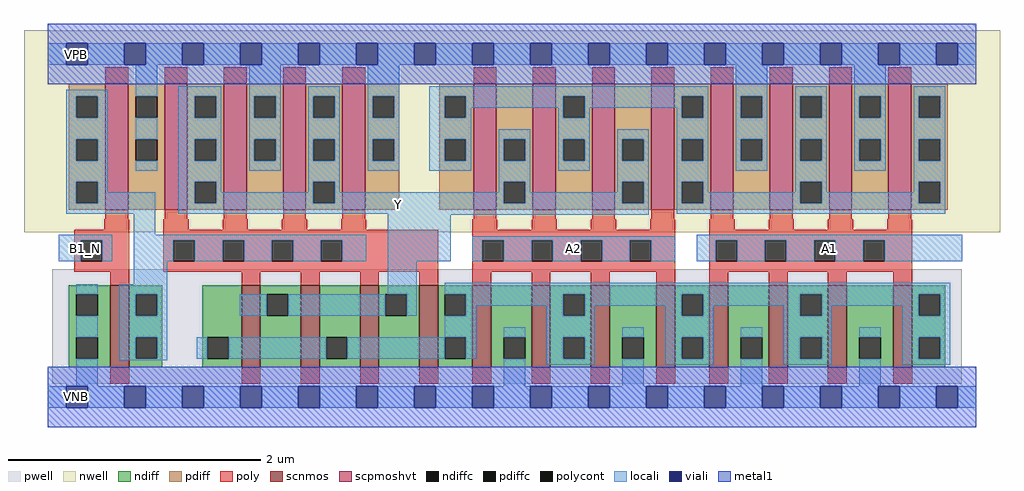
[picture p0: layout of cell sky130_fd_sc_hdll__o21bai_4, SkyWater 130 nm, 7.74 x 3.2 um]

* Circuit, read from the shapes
.subckt sky130_fd_sc_hdll__o21bai_4 A1 A2 B1_N VGND VNB VPB VPWR Y
XM1 n1 B1_N VGND VNB sky130_fd_pr__nfet_01v8 w=0.65 l=0.15
XM2 Y n1 n2 VNB sky130_fd_pr__nfet_01v8 w=0.65 l=0.15 m=4
XM3 VGND A2 n2 VNB sky130_fd_pr__nfet_01v8 w=0.65 l=0.15 m=4
XM4 VGND A1 n2 VNB sky130_fd_pr__nfet_01v8 w=0.65 l=0.15 m=4
XM5 VPWR B1_N n1 VPB sky130_fd_pr__pfet_01v8_hvt w=1 l=0.18
XM6 Y n1 VPWR VPB sky130_fd_pr__pfet_01v8_hvt w=1 l=0.18 m=4
XM7 Y A2 n3 VPB sky130_fd_pr__pfet_01v8_hvt w=1 l=0.18 m=4
XM8 VPWR A1 n3 VPB sky130_fd_pr__pfet_01v8_hvt w=1 l=0.18 m=4
.ends

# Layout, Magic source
magic
tech sky130A
magscale 1 2
<< nwell >>
rect -38 261 1510 582
<< pwell >>
rect 7 21 1449 203
rect 29 -17 63 21
<< scnmos >>
rect 99 47 129 177
rect 307 47 337 177
rect 401 47 431 177
rect 495 47 525 177
rect 589 47 619 177
rect 673 47 703 177
rect 767 47 797 177
rect 861 47 891 177
rect 965 47 995 177
rect 1049 47 1079 177
rect 1143 47 1173 177
rect 1237 47 1267 177
rect 1341 47 1371 177
<< scpmoshvt >>
rect 91 297 127 497
rect 185 297 221 497
rect 279 297 315 497
rect 373 297 409 497
rect 467 297 503 497
rect 675 297 711 497
rect 769 297 805 497
rect 863 297 899 497
rect 957 297 993 497
rect 1051 297 1087 497
rect 1145 297 1181 497
rect 1239 297 1275 497
rect 1333 297 1369 497
<< ndiff >>
rect 33 163 99 177
rect 33 129 45 163
rect 79 129 99 163
rect 33 95 99 129
rect 33 61 45 95
rect 79 61 99 95
rect 33 47 99 61
rect 129 163 181 177
rect 129 129 139 163
rect 173 129 181 163
rect 129 95 181 129
rect 129 61 139 95
rect 173 61 181 95
rect 129 47 181 61
rect 245 95 307 177
rect 245 61 253 95
rect 287 61 307 95
rect 245 47 307 61
rect 337 163 401 177
rect 337 129 347 163
rect 381 129 401 163
rect 337 47 401 129
rect 431 95 495 177
rect 431 61 441 95
rect 475 61 495 95
rect 431 47 495 61
rect 525 163 589 177
rect 525 129 535 163
rect 569 129 589 163
rect 525 47 589 129
rect 619 163 673 177
rect 619 129 629 163
rect 663 129 673 163
rect 619 95 673 129
rect 619 61 629 95
rect 663 61 673 95
rect 619 47 673 61
rect 703 95 767 177
rect 703 61 723 95
rect 757 61 767 95
rect 703 47 767 61
rect 797 163 861 177
rect 797 129 817 163
rect 851 129 861 163
rect 797 95 861 129
rect 797 61 817 95
rect 851 61 861 95
rect 797 47 861 61
rect 891 95 965 177
rect 891 61 911 95
rect 945 61 965 95
rect 891 47 965 61
rect 995 163 1049 177
rect 995 129 1005 163
rect 1039 129 1049 163
rect 995 95 1049 129
rect 995 61 1005 95
rect 1039 61 1049 95
rect 995 47 1049 61
rect 1079 95 1143 177
rect 1079 61 1099 95
rect 1133 61 1143 95
rect 1079 47 1143 61
rect 1173 163 1237 177
rect 1173 129 1193 163
rect 1227 129 1237 163
rect 1173 95 1237 129
rect 1173 61 1193 95
rect 1227 61 1237 95
rect 1173 47 1237 61
rect 1267 95 1341 177
rect 1267 61 1287 95
rect 1321 61 1341 95
rect 1267 47 1341 61
rect 1371 163 1423 177
rect 1371 129 1381 163
rect 1415 129 1423 163
rect 1371 95 1423 129
rect 1371 61 1381 95
rect 1415 61 1423 95
rect 1371 47 1423 61
<< pdiff >>
rect 33 477 91 497
rect 33 443 45 477
rect 79 443 91 477
rect 33 409 91 443
rect 33 375 45 409
rect 79 375 91 409
rect 33 341 91 375
rect 33 307 45 341
rect 79 307 91 341
rect 33 297 91 307
rect 127 477 185 497
rect 127 443 139 477
rect 173 443 185 477
rect 127 409 185 443
rect 127 375 139 409
rect 173 375 185 409
rect 127 297 185 375
rect 221 477 279 497
rect 221 443 233 477
rect 267 443 279 477
rect 221 409 279 443
rect 221 375 233 409
rect 267 375 279 409
rect 221 341 279 375
rect 221 307 233 341
rect 267 307 279 341
rect 221 297 279 307
rect 315 477 373 497
rect 315 443 327 477
rect 361 443 373 477
rect 315 409 373 443
rect 315 375 327 409
rect 361 375 373 409
rect 315 297 373 375
rect 409 477 467 497
rect 409 443 421 477
rect 455 443 467 477
rect 409 409 467 443
rect 409 375 421 409
rect 455 375 467 409
rect 409 341 467 375
rect 409 307 421 341
rect 455 307 467 341
rect 409 297 467 307
rect 503 477 557 497
rect 503 443 515 477
rect 549 443 557 477
rect 503 409 557 443
rect 503 375 515 409
rect 549 375 557 409
rect 503 297 557 375
rect 621 477 675 497
rect 621 443 629 477
rect 663 443 675 477
rect 621 409 675 443
rect 621 375 629 409
rect 663 375 675 409
rect 621 297 675 375
rect 711 409 769 497
rect 711 375 723 409
rect 757 375 769 409
rect 711 341 769 375
rect 711 307 723 341
rect 757 307 769 341
rect 711 297 769 307
rect 805 477 863 497
rect 805 443 817 477
rect 851 443 863 477
rect 805 409 863 443
rect 805 375 817 409
rect 851 375 863 409
rect 805 297 863 375
rect 899 409 957 497
rect 899 375 911 409
rect 945 375 957 409
rect 899 341 957 375
rect 899 307 911 341
rect 945 307 957 341
rect 899 297 957 307
rect 993 477 1051 497
rect 993 443 1005 477
rect 1039 443 1051 477
rect 993 409 1051 443
rect 993 375 1005 409
rect 1039 375 1051 409
rect 993 341 1051 375
rect 993 307 1005 341
rect 1039 307 1051 341
rect 993 297 1051 307
rect 1087 477 1145 497
rect 1087 443 1099 477
rect 1133 443 1145 477
rect 1087 409 1145 443
rect 1087 375 1099 409
rect 1133 375 1145 409
rect 1087 297 1145 375
rect 1181 477 1239 497
rect 1181 443 1193 477
rect 1227 443 1239 477
rect 1181 409 1239 443
rect 1181 375 1193 409
rect 1227 375 1239 409
rect 1181 341 1239 375
rect 1181 307 1193 341
rect 1227 307 1239 341
rect 1181 297 1239 307
rect 1275 477 1333 497
rect 1275 443 1287 477
rect 1321 443 1333 477
rect 1275 409 1333 443
rect 1275 375 1287 409
rect 1321 375 1333 409
rect 1275 297 1333 375
rect 1369 477 1427 497
rect 1369 443 1381 477
rect 1415 443 1427 477
rect 1369 409 1427 443
rect 1369 375 1381 409
rect 1415 375 1427 409
rect 1369 341 1427 375
rect 1369 307 1381 341
rect 1415 307 1427 341
rect 1369 297 1427 307
<< ndiffc >>
rect 45 129 79 163
rect 45 61 79 95
rect 139 129 173 163
rect 139 61 173 95
rect 253 61 287 95
rect 347 129 381 163
rect 441 61 475 95
rect 535 129 569 163
rect 629 129 663 163
rect 629 61 663 95
rect 723 61 757 95
rect 817 129 851 163
rect 817 61 851 95
rect 911 61 945 95
rect 1005 129 1039 163
rect 1005 61 1039 95
rect 1099 61 1133 95
rect 1193 129 1227 163
rect 1193 61 1227 95
rect 1287 61 1321 95
rect 1381 129 1415 163
rect 1381 61 1415 95
<< pdiffc >>
rect 45 443 79 477
rect 45 375 79 409
rect 45 307 79 341
rect 139 443 173 477
rect 139 375 173 409
rect 233 443 267 477
rect 233 375 267 409
rect 233 307 267 341
rect 327 443 361 477
rect 327 375 361 409
rect 421 443 455 477
rect 421 375 455 409
rect 421 307 455 341
rect 515 443 549 477
rect 515 375 549 409
rect 629 443 663 477
rect 629 375 663 409
rect 723 375 757 409
rect 723 307 757 341
rect 817 443 851 477
rect 817 375 851 409
rect 911 375 945 409
rect 911 307 945 341
rect 1005 443 1039 477
rect 1005 375 1039 409
rect 1005 307 1039 341
rect 1099 443 1133 477
rect 1099 375 1133 409
rect 1193 443 1227 477
rect 1193 375 1227 409
rect 1193 307 1227 341
rect 1287 443 1321 477
rect 1287 375 1321 409
rect 1381 443 1415 477
rect 1381 375 1415 409
rect 1381 307 1415 341
<< poly >>
rect 91 497 127 523
rect 185 497 221 523
rect 279 497 315 523
rect 373 497 409 523
rect 467 497 503 523
rect 675 497 711 523
rect 769 497 805 523
rect 863 497 899 523
rect 957 497 993 523
rect 1051 497 1087 523
rect 1145 497 1181 523
rect 1239 497 1275 523
rect 1333 497 1369 523
rect 91 282 127 297
rect 185 282 221 297
rect 279 282 315 297
rect 373 282 409 297
rect 467 282 503 297
rect 675 282 711 297
rect 769 282 805 297
rect 863 282 899 297
rect 957 282 993 297
rect 1051 282 1087 297
rect 1145 282 1181 297
rect 1239 282 1275 297
rect 1333 282 1369 297
rect 89 265 129 282
rect 42 249 129 265
rect 42 215 52 249
rect 86 215 129 249
rect 42 199 129 215
rect 183 265 223 282
rect 277 265 317 282
rect 371 265 411 282
rect 465 265 505 282
rect 673 265 713 282
rect 767 265 807 282
rect 861 265 901 282
rect 955 265 995 282
rect 183 249 619 265
rect 183 215 199 249
rect 233 215 277 249
rect 311 215 355 249
rect 389 215 433 249
rect 467 215 619 249
rect 183 199 619 215
rect 99 177 129 199
rect 307 177 337 199
rect 401 177 431 199
rect 495 177 525 199
rect 589 177 619 199
rect 673 249 995 265
rect 673 215 689 249
rect 723 215 767 249
rect 801 215 845 249
rect 879 215 923 249
rect 957 215 995 249
rect 673 199 995 215
rect 673 177 703 199
rect 767 177 797 199
rect 861 177 891 199
rect 965 177 995 199
rect 1049 265 1089 282
rect 1143 265 1183 282
rect 1237 265 1277 282
rect 1331 265 1371 282
rect 1049 249 1371 265
rect 1049 215 1059 249
rect 1093 215 1137 249
rect 1171 215 1215 249
rect 1249 215 1293 249
rect 1327 215 1371 249
rect 1049 199 1371 215
rect 1049 177 1079 199
rect 1143 177 1173 199
rect 1237 177 1267 199
rect 1341 177 1371 199
rect 99 21 129 47
rect 307 21 337 47
rect 401 21 431 47
rect 495 21 525 47
rect 589 21 619 47
rect 673 21 703 47
rect 767 21 797 47
rect 861 21 891 47
rect 965 21 995 47
rect 1049 21 1079 47
rect 1143 21 1173 47
rect 1237 21 1267 47
rect 1341 21 1371 47
<< polycont >>
rect 52 215 86 249
rect 199 215 233 249
rect 277 215 311 249
rect 355 215 389 249
rect 433 215 467 249
rect 689 215 723 249
rect 767 215 801 249
rect 845 215 879 249
rect 923 215 957 249
rect 1059 215 1093 249
rect 1137 215 1171 249
rect 1215 215 1249 249
rect 1293 215 1327 249
<< locali >>
rect 0 527 29 561
rect 63 527 121 561
rect 155 527 213 561
rect 247 527 305 561
rect 339 527 397 561
rect 431 527 489 561
rect 523 527 581 561
rect 615 527 673 561
rect 707 527 765 561
rect 799 527 857 561
rect 891 527 949 561
rect 983 527 1041 561
rect 1075 527 1133 561
rect 1167 527 1225 561
rect 1259 527 1317 561
rect 1351 527 1409 561
rect 1443 527 1472 561
rect 29 477 95 487
rect 29 443 45 477
rect 79 443 95 477
rect 29 409 95 443
rect 29 375 45 409
rect 79 375 95 409
rect 29 341 95 375
rect 139 477 173 527
rect 139 409 173 443
rect 139 359 173 375
rect 207 477 275 493
rect 207 443 233 477
rect 267 443 275 477
rect 207 409 275 443
rect 207 375 233 409
rect 267 375 275 409
rect 29 307 45 341
rect 79 325 95 341
rect 207 341 275 375
rect 319 477 369 527
rect 319 443 327 477
rect 361 443 369 477
rect 319 409 369 443
rect 319 375 327 409
rect 361 375 369 409
rect 319 359 369 375
rect 413 477 463 493
rect 413 443 421 477
rect 455 443 463 477
rect 413 409 463 443
rect 413 375 421 409
rect 455 375 463 409
rect 79 307 170 325
rect 29 291 170 307
rect 207 307 233 341
rect 267 325 275 341
rect 413 341 463 375
rect 507 477 557 527
rect 507 443 515 477
rect 549 443 557 477
rect 507 409 557 443
rect 507 375 515 409
rect 549 375 557 409
rect 507 359 557 375
rect 605 477 1047 493
rect 605 443 629 477
rect 663 459 817 477
rect 663 443 671 459
rect 605 409 671 443
rect 809 443 817 459
rect 851 459 1005 477
rect 851 443 859 459
rect 605 375 629 409
rect 663 375 671 409
rect 605 359 671 375
rect 715 409 765 425
rect 715 375 723 409
rect 757 375 765 409
rect 413 325 421 341
rect 267 307 421 325
rect 455 325 463 341
rect 715 341 765 375
rect 809 409 859 443
rect 997 443 1005 459
rect 1039 443 1047 477
rect 809 375 817 409
rect 851 375 859 409
rect 809 359 859 375
rect 903 409 953 425
rect 903 375 911 409
rect 945 375 953 409
rect 715 325 723 341
rect 455 307 723 325
rect 757 325 765 341
rect 903 341 953 375
rect 903 325 911 341
rect 757 307 911 325
rect 945 307 953 341
rect 207 291 953 307
rect 997 409 1047 443
rect 997 375 1005 409
rect 1039 375 1047 409
rect 997 341 1047 375
rect 1091 477 1141 527
rect 1091 443 1099 477
rect 1133 443 1141 477
rect 1091 409 1141 443
rect 1091 375 1099 409
rect 1133 375 1141 409
rect 1091 359 1141 375
rect 1185 477 1235 493
rect 1185 443 1193 477
rect 1227 443 1235 477
rect 1185 409 1235 443
rect 1185 375 1193 409
rect 1227 375 1235 409
rect 997 307 1005 341
rect 1039 325 1047 341
rect 1185 341 1235 375
rect 1279 477 1329 527
rect 1279 443 1287 477
rect 1321 443 1329 477
rect 1279 409 1329 443
rect 1279 375 1287 409
rect 1321 375 1329 409
rect 1279 359 1329 375
rect 1373 477 1423 493
rect 1373 443 1381 477
rect 1415 443 1423 477
rect 1373 409 1423 443
rect 1373 375 1381 409
rect 1415 375 1423 409
rect 1185 325 1193 341
rect 1039 307 1193 325
rect 1227 325 1235 341
rect 1373 341 1423 375
rect 1373 325 1381 341
rect 1227 307 1381 325
rect 1415 307 1423 341
rect 997 291 1423 307
rect 136 257 170 291
rect 539 289 953 291
rect 17 249 102 257
rect 17 215 52 249
rect 86 215 102 249
rect 136 249 505 257
rect 136 215 199 249
rect 233 215 277 249
rect 311 215 355 249
rect 389 215 433 249
rect 467 215 505 249
rect 539 215 639 289
rect 673 249 995 255
rect 673 215 689 249
rect 723 215 767 249
rect 801 215 845 249
rect 879 215 923 249
rect 957 215 995 249
rect 1029 249 1450 257
rect 1029 215 1059 249
rect 1093 215 1137 249
rect 1171 215 1215 249
rect 1249 215 1293 249
rect 1327 215 1450 249
rect 136 179 189 215
rect 45 163 79 179
rect 45 95 79 129
rect 45 17 79 61
rect 113 163 189 179
rect 539 163 585 215
rect 113 129 139 163
rect 173 129 189 163
rect 304 129 347 163
rect 381 129 535 163
rect 569 129 585 163
rect 629 163 1431 181
rect 663 145 817 163
rect 663 129 679 145
rect 113 95 189 129
rect 629 95 679 129
rect 791 129 817 145
rect 851 145 1005 163
rect 851 129 867 145
rect 113 61 139 95
rect 173 61 189 95
rect 236 61 253 95
rect 287 61 441 95
rect 475 61 629 95
rect 663 61 679 95
rect 723 95 757 111
rect 113 58 189 61
rect 723 17 757 61
rect 791 95 867 129
rect 979 129 1005 145
rect 1039 145 1193 163
rect 1039 129 1055 145
rect 791 61 817 95
rect 851 61 867 95
rect 791 51 867 61
rect 911 95 945 111
rect 911 17 945 61
rect 979 95 1055 129
rect 1167 129 1193 145
rect 1227 145 1381 163
rect 1227 129 1243 145
rect 979 61 1005 95
rect 1039 61 1055 95
rect 979 51 1055 61
rect 1099 95 1133 111
rect 1099 17 1133 61
rect 1167 95 1243 129
rect 1355 129 1381 145
rect 1415 129 1431 163
rect 1167 61 1193 95
rect 1227 61 1243 95
rect 1167 51 1243 61
rect 1287 95 1321 111
rect 1287 17 1321 61
rect 1355 95 1431 129
rect 1355 61 1381 95
rect 1415 61 1431 95
rect 1355 51 1431 61
rect 0 -17 29 17
rect 63 -17 121 17
rect 155 -17 213 17
rect 247 -17 305 17
rect 339 -17 397 17
rect 431 -17 489 17
rect 523 -17 581 17
rect 615 -17 673 17
rect 707 -17 765 17
rect 799 -17 857 17
rect 891 -17 949 17
rect 983 -17 1041 17
rect 1075 -17 1133 17
rect 1167 -17 1225 17
rect 1259 -17 1317 17
rect 1351 -17 1409 17
rect 1443 -17 1472 17
<< viali >>
rect 29 527 63 561
rect 121 527 155 561
rect 213 527 247 561
rect 305 527 339 561
rect 397 527 431 561
rect 489 527 523 561
rect 581 527 615 561
rect 673 527 707 561
rect 765 527 799 561
rect 857 527 891 561
rect 949 527 983 561
rect 1041 527 1075 561
rect 1133 527 1167 561
rect 1225 527 1259 561
rect 1317 527 1351 561
rect 1409 527 1443 561
rect 29 -17 63 17
rect 121 -17 155 17
rect 213 -17 247 17
rect 305 -17 339 17
rect 397 -17 431 17
rect 489 -17 523 17
rect 581 -17 615 17
rect 673 -17 707 17
rect 765 -17 799 17
rect 857 -17 891 17
rect 949 -17 983 17
rect 1041 -17 1075 17
rect 1133 -17 1167 17
rect 1225 -17 1259 17
rect 1317 -17 1351 17
rect 1409 -17 1443 17
<< metal1 >>
rect 0 561 1472 592
rect 0 527 29 561
rect 63 527 121 561
rect 155 527 213 561
rect 247 527 305 561
rect 339 527 397 561
rect 431 527 489 561
rect 523 527 581 561
rect 615 527 673 561
rect 707 527 765 561
rect 799 527 857 561
rect 891 527 949 561
rect 983 527 1041 561
rect 1075 527 1133 561
rect 1167 527 1225 561
rect 1259 527 1317 561
rect 1351 527 1409 561
rect 1443 527 1472 561
rect 0 496 1472 527
rect 0 17 1472 48
rect 0 -17 29 17
rect 63 -17 121 17
rect 155 -17 213 17
rect 247 -17 305 17
rect 339 -17 397 17
rect 431 -17 489 17
rect 523 -17 581 17
rect 615 -17 673 17
rect 707 -17 765 17
rect 799 -17 857 17
rect 891 -17 949 17
rect 983 -17 1041 17
rect 1075 -17 1133 17
rect 1167 -17 1225 17
rect 1259 -17 1317 17
rect 1351 -17 1409 17
rect 1443 -17 1472 17
rect 0 -48 1472 -17
<< labels >>
flabel locali s 539 289 573 323 0 FreeSans 400 0 0 0 Y
port 8 nsew signal output
flabel locali s 17 215 102 257 0 FreeSans 400 0 0 0 B1_N
port 3 nsew signal input
flabel locali s 1029 215 1450 257 0 FreeSans 400 0 0 0 A1
port 1 nsew signal input
flabel locali s 673 215 995 255 0 FreeSans 400 0 0 0 A2
port 2 nsew signal input
flabel pwell s 29 -17 63 17 0 FreeSans 200 0 0 0 VNB
port 5 nsew ground bidirectional
flabel nwell s 29 527 63 561 0 FreeSans 200 0 0 0 VPB
port 6 nsew power bidirectional
flabel metal1 s 29 -17 63 17 0 FreeSans 200 0 0 0 VGND
port 4 nsew ground bidirectional
flabel metal1 s 29 527 63 561 0 FreeSans 200 0 0 0 VPWR
port 7 nsew power bidirectional
rlabel comment s 0 0 0 0 4 o21bai_4
<< properties >>
string LEFsite unithd
string LEFclass CORE
string FIXED_BBOX 0 0 1472 544
string GDS_FILE $PDKPATH/libs.ref/sky130_fd_sc_hdll/gds/sky130_fd_sc_hdll.gds
string LEFsymmetry X Y R90
string GDS_END 2476768
string GDS_START 2465464
string LEFproperties maskLayoutSubType "abstract" prCellType "standard" originalViewName "layout"
<< end >>
